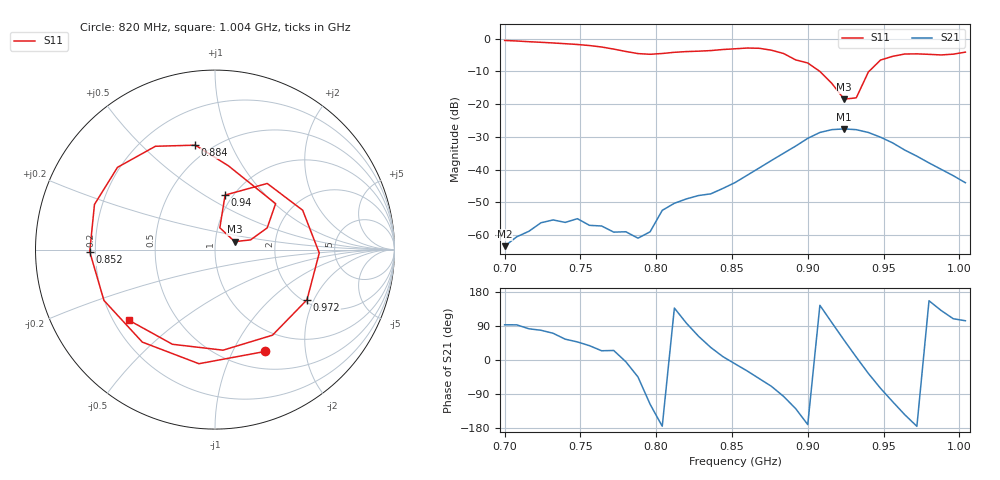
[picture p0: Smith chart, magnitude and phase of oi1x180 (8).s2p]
# Hz S RI R 50
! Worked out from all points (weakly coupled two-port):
!   39 points, 700 MHz to 1.004 GHz, reference 50 ohm
!   highest |S21| = -27.59 dB at 924 MHz (marker M1); lowest = -63.4 dB at 700 MHz (marker M2)
!   lowest |S11| = -18.5 dB at 924 MHz (marker M3), VSWR 1.27, Z = 62.1 + j5.58 ohm
!   |S11| at or under -10 dB: 907.9 MHz to 940.4 MHz (32.54 MHz wide, 3.52 % of centre)
!   S12 and S22 are empty: the file has one direction only
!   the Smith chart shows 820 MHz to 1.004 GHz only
!   S11 on the Smith chart (normalised r, x): 820 MHz: 0.71, -1.35; 852 MHz: 0.18, -0.01; 884 MHz: 0.41, +0.74; 940 MHz: 0.92, +0.62; 972 MHz: 2.09, -1.77; 1.004 GHz: 0.26, -0.34
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7e8  0.7567 0.5505  -3.42e-05 0.000675  0 0  0 0
7.24e8  0.8428 -0.2429  0.000308 0.00151  0 0  0 0
7.4e8  0.4583 -0.698  0.000896 0.00128  0 0  0 0
7.56e8  -0.187 -0.7594  0.00111 0.000862  0 0  0 0
7.72e8  -0.6596 -0.2044  0.001 0.00047  0 0  0 0
7.8e8  -0.5975 0.2153  0.00112 -9.18e-05  0 0  0 0
7.96e8  0.2278 0.5287  -0.000507 -0.001  0 0  0 0
8.04e8  0.5617 0.1858  -0.00237 -0.000213  0 0  0 0
8.2e8  0.281 -0.5672  -0.000429 0.00354  0 0  0 0
8.36e8  -0.405 -0.5154  0.00356 0.00233  0 0  0 0
8.52e8  -0.698 -0.0118  0.00622 -0.00111  0 0  0 0
8.68e8  -0.5431 0.4584  0.00693 -0.008  0 0  0 0
8.84e8  -0.1098 0.5819  -0.00181 -0.0176  0 0  0 0
9e8  0.3377 0.2558  -0.0295 -0.005  0 0  0 0
9.08e8  0.2909 0.1211  -0.0299 0.0215  0 0  0 0
9.24e8  0.1101 0.0443  0.0256 0.033  0 0  0 0
9.32e8  0.0269 0.1216  0.0403 0.00544  0 0  0 0
9.4e8  0.0562 0.3038  0.03 -0.0214  0 0  0 0
9.56e8  0.4886 0.2192  -0.00873 -0.024  0 0  0 0
9.72e8  0.5126 -0.2795  -0.0159 -0.00139  0 0  0 0
9.88e8  0.045 -0.5603  -0.00657 0.00765  0 0  0 0
1.004e9  -0.4799 -0.3933  -0.00148 0.00612  0 0  0 0
